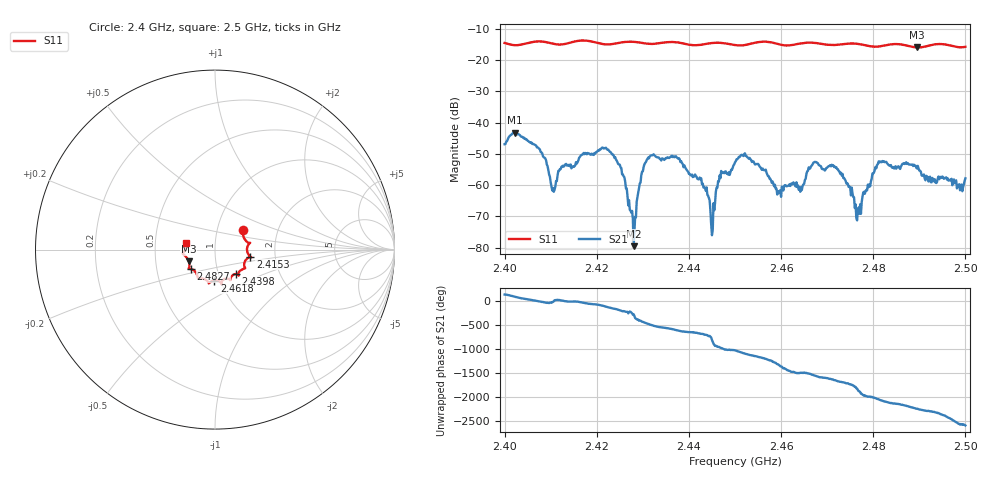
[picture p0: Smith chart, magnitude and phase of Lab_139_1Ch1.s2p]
# Hz S RI R 50
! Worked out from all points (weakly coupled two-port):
!   601 points, 2.4 GHz to 2.5 GHz, reference 50 ohm
!   highest |S21| = -43.23 dB at 2.4022 GHz (marker M1); lowest = -79.5 dB at 2.428 GHz (marker M2)
!   lowest |S11| = -15.9 dB at 2.4895 GHz (marker M3), VSWR 1.38, Z = 37 - j5 ohm
!   |S11| at or under -10 dB: start of sweep to end of sweep
!   S12 and S22 are empty: the file has one direction only
!   S11 on the Smith chart (normalised r, x): 2.4 GHz: 1.33, +0.29; 2.4153 GHz: 1.48, -0.12; 2.4398 GHz: 1.21, -0.34; 2.4618 GHz: 0.94, -0.33; 2.4827 GHz: 0.75, -0.17; 2.5 GHz: 0.72, +0.06
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2.4e9  0.1556 0.1068  -0.00263 0.00369  0 0  0 0
2.402167e9  0.1589 0.0714  0.001 0.00682  0 0  0 0
2.407667e9  0.1961 0.0377  0.00353 -0.00119  0 0  0 0
2.4105e9  0.1825 0.021  0.000797 -0.000425  0 0  0 0
2.415333e9  0.1962 -0.0393  0.00198 -0.00064  0 0  0 0
2.416667e9  0.2021 -0.0431  0.00244 -0.00181  0 0  0 0
2.4235e9  0.1623 -0.0821  -0.00296 -0.000931  0 0  0 0
2.428e9  0.1669 -0.1042  2.29e-05 0.000103  0 0  0 0
2.430333e9  0.1495 -0.1117  -0.000155 -0.00215  0 0  0 0
2.433333e9  0.1299 -0.1337  -0.00279 0.000163  0 0  0 0
2.439833e9  0.1155 -0.1359  0.000591 0.00154  0 0  0 0
2.445167e9  0.0841 -0.1693  -0.00013 -0.00014  0 0  0 0
2.446833e9  0.0844 -0.1699  -0.000307 0.00126  0 0  0 0
2.45e9  0.0654 -0.1622  0.00149 0.00179  0 0  0 0
2.461833e9  -0.00333 -0.1729  0.001 -0.000247  0 0  0 0
2.466667e9  -0.0347 -0.1881  -0.000121 -0.00207  0 0  0 0
2.472167e9  -0.0719 -0.1609  -0.00134 0.00122  0 0  0 0
2.476833e9  -0.0966 -0.154  0.000125 -0.000423  0 0  0 0
2.482667e9  -0.1348 -0.1084  0.000866 0.00218  0 0  0 0
2.483333e9  -0.1401 -0.1081  0.00137 0.0016  0 0  0 0
2.4895e9  -0.1458 -0.0658  0.000388 -0.00181  0 0  0 0
2.5e9  -0.1592 0.0386  0.000564 -0.00116  0 0  0 0
